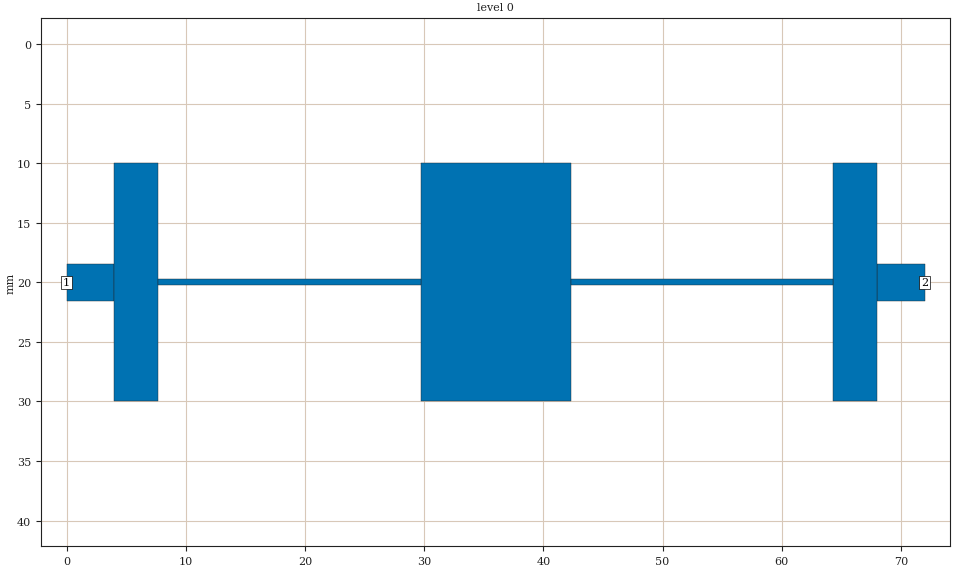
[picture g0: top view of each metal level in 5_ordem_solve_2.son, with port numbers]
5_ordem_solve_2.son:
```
FTYP SONPROJ 13 ! Sonnet Project File
VER 15.53.lite
HEADER
LIC SL290709.106431 847bebfebdba DESKTOP-1CMJ3DP Arihe
DAT 05/05/2019 17:44:04
BUILT_BY_CREATED xgeom 15.53-Lite 04/13/2019 20:59:13
BUILT_BY_SAVED xgeom 15.53-Lite
MDATE 05/05/2019 17:44:04
HDATE 05/05/2019 17:44:04
END HEADER
DIM
FREQ GHZ
RSVY OHMM
IND NH
LNG MM
ANG DEG
CON /OH
CAP PF
RES OH
END DIM
FREQ
ABS 1.0e-9 3.0 
END FREQ
CONTROL
ABS
OPTIONS  -dj 
SPEED 0
CACHE_ABS 1
TARG_ABS 300
Q_ACC N
END CONTROL
GEO
DRP1 LEFT LINK
POLY 12 1
1
DRP1 RIGHT LINK
POLY 14 1
0
TMET "Lossless" 0 SUP 0 0 0 0
BMET "Lossless" 0 SUP 0 0 0 0
MET "Copper" 1 NOR 58000000 0 0.0347 
BOX 1 72 40 1440 160 20 0
      20 1 1 0 0 0 0 "Air"
      1.5306 4.4 1 0.02 0 0 0 "FR-4"
LORGN 0 40 U 
POR1 STD
POLY 12 1
3
1 50 0 0 0 -1.484743677e-006 20 
POR1 STD
POLY 14 1
1
2 50 0 0 0 71.99999852 20 
NUM 7
0 5 0 N 12 1 1 100 100 0 0 0 Y
-1.484743677e-006 18.45
3.999998515 18.45
3.999998515 21.55
-1.484743677e-006 21.55
-1.484743677e-006 18.45
END
0 5 0 N 14 1 1 100 100 0 0 0 Y
67.99999852 18.45
71.99999852 18.45
71.99999852 21.55
67.99999852 21.55
67.99999852 18.45
END
0 5 0 N 26 1 1 100 100 0 0 0 Y
3.999997986 10
7.699997986 10
7.699997986 30
3.999997986 30
3.999997986 10
END
0 5 0 N 27 1 1 100 100 0 0 0 Y
64.29999799 10
67.99999799 10
67.99999799 30
64.29999799 30
64.29999799 10
END
0 5 0 N 30 1 1 100 100 0 0 0 Y
29.69999799 10
42.29999799 10
42.29999799 30
29.69999799 30
29.69999799 10
END
0 5 0 N 37 1 1 100 100 0 0 0 Y
7.699999564 19.75
29.69999956 19.75
29.69999956 20.25
7.699999564 20.25
7.699999564 19.75
END
0 5 0 N 38 1 1 100 100 0 0 0 Y
42.29999956 19.75
64.29999956 19.75
64.29999956 20.25
42.29999956 20.25
42.29999956 19.75
END
END GEO
OPT
MAX 100
VARS
END
END OPT
VARSWP
END VARSWP
FILEOUT
FOLDER "C:\Users\Arihe\Desktop\Simulacao Filtros\Chebyshev 3 ordem"
END FILEOUT
QSG
IMPORT NO
EXTRA_METAL NO
UNITS YES
ALIGN NO
REF NO
VIEW_RES NO
METALS YES
USED YES
END QSG
```
